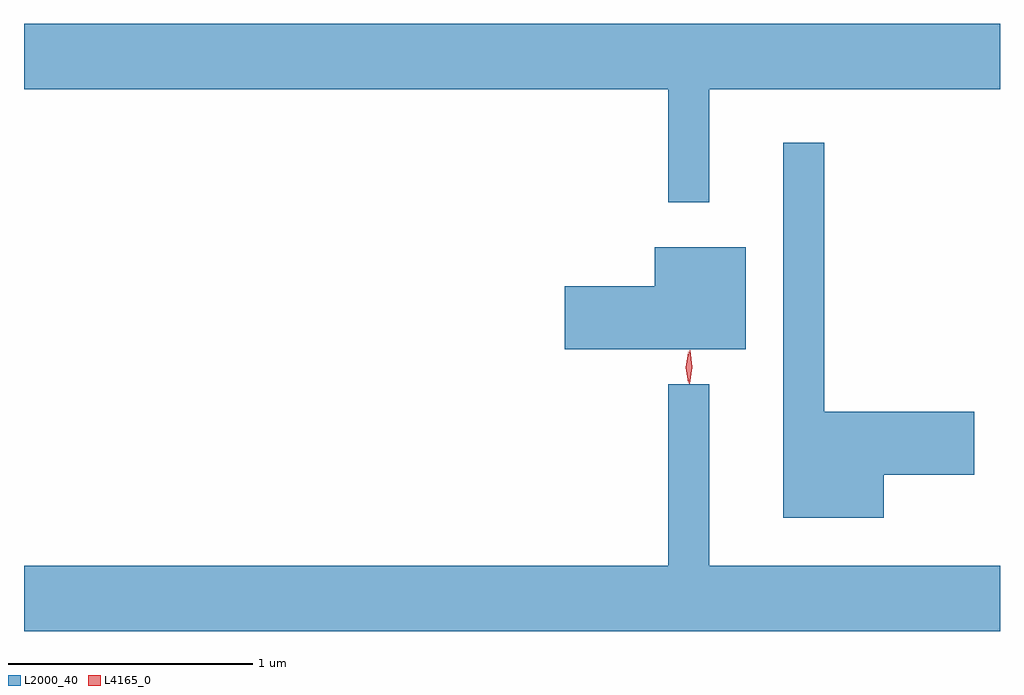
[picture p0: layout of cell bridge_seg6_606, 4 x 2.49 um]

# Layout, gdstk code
import gdstk
lib = gdstk.Library(unit=1e-6, precision=1e-09)
def P(c, l, *ps):  # polygons
    for p in ps: c.add(gdstk.Polygon(p, *l))
L2000_40 = (2000, 40)
L4165_0 = (4165, 0)

bridge_seg6_606 = lib.new_cell('bridge_seg6_606')
P(bridge_seg6_606, L2000_40, [(201.089,1609.976),(202.28,1609.976),(202.28,1610.244),(198.28,1610.244),(198.28,1609.976),(200.921,1609.976),(200.921,1609.513),(201.089,1609.513)],
  [(201.804,1608.396),(202.174,1608.396),(202.174,1608.654),(201.559,1608.654),(201.559,1609.758),(201.391,1609.758),(201.391,1608.221),(201.804,1608.221)],
  [(201.239,1609.329),(200.866,1609.329),(200.866,1609.169),(200.496,1609.169),(200.496,1608.911),(201.239,1608.911)],
  [(202.28,1608.024),(201.089,1608.024),(201.089,1608.768),(200.921,1608.768),(200.921,1608.024),(198.28,1608.024),(198.28,1607.756),(202.28,1607.756)])
P(bridge_seg6_606, L4165_0, [(201.007,1608.77),(200.999,1608.838),(201.009,1608.906),(201.009,1608.906),(201.01,1608.906),(201.018,1608.838),(201.008,1608.77),(201.008,1608.77)],
  [(201.002,1608.773),(201.002,1608.773),(200.992,1608.836),(201.002,1608.899),(201.002,1608.9),(201.003,1608.899),(201.012,1608.836),(201.003,1608.773)])

lib.write_gds('bridge_seg6_606.gds')
